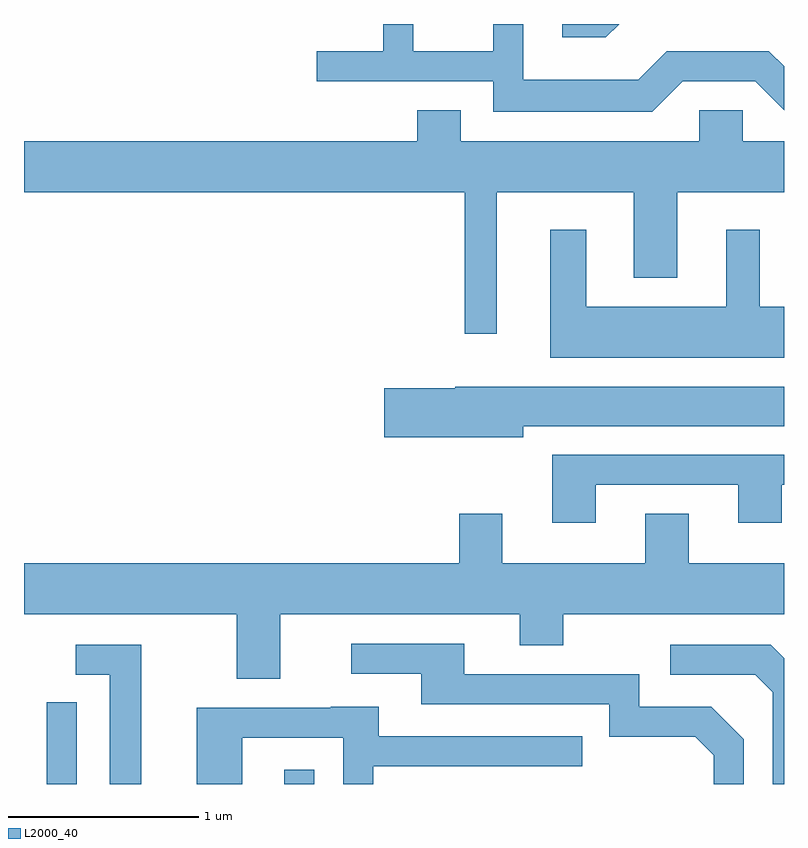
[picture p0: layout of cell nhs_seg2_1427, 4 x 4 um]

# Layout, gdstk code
import gdstk
lib = gdstk.Library(unit=1e-6, precision=1e-09)
def R(c, l, rs):  # rectangles x0, y0, x1, y1
    for r in rs: c.add(gdstk.rectangle(r[:2], r[2:], *l))
def P(c, l, *ps):  # polygons
    for p in ps: c.add(gdstk.Polygon(p, *l))
L2000_40 = (2000, 40)

nhs_seg2_1427 = lib.new_cell('nhs_seg2_1427')
R(nhs_seg2_1427, L2000_40, [(225.731,1111.802,225.889,1112.233), (226.981,1111.802,227.139,1111.878)])
P(nhs_seg2_1427, L2000_40, [(229.077,1115.501),(229.459,1115.501),(229.611,1115.349),(229.611,1115.58),(229.532,1115.659),(228.994,1115.659),(228.844,1115.509),(228.239,1115.509),(228.239,1115.802),(228.081,1115.802),(228.081,1115.659),(227.659,1115.659),(227.659,1115.802),(227.501,1115.802),(227.501,1115.659),(227.153,1115.659),(227.153,1115.501),(228.081,1115.501),(228.081,1115.341),(228.917,1115.341)],
  [(228.743,1115.802),(228.443,1115.802),(228.443,1115.731),(228.672,1115.731)],
  [(228.099,1114.916),(228.821,1114.916),(228.821,1114.466),(229.049,1114.466),(229.049,1114.916),(229.611,1114.916),(229.611,1115.184),(229.394,1115.184),(229.394,1115.349),(229.166,1115.349),(229.166,1115.184),(227.909,1115.184),(227.909,1115.349),(227.681,1115.349),(227.681,1115.184),(225.611,1115.184),(225.611,1114.916),(227.931,1114.916),(227.931,1114.173),(228.099,1114.173)],
  [(229.611,1114.314),(229.484,1114.314),(229.484,1114.719),(229.306,1114.719),(229.306,1114.314),(228.569,1114.314),(228.569,1114.719),(228.381,1114.719),(228.381,1114.046),(229.611,1114.046)],
  [(228.239,1113.686),(229.611,1113.686),(229.611,1113.894),(227.88,1113.894),(227.88,1113.884),(227.506,1113.884),(227.506,1113.626),(228.239,1113.626)],
  [(228.619,1113.376),(229.371,1113.376),(229.371,1113.176),(229.599,1113.176),(229.599,1113.376),(229.611,1113.376),(229.611,1113.534),(228.391,1113.534),(228.391,1113.176),(228.619,1113.176)],
  [(226.959,1112.696),(228.221,1112.696),(228.221,1112.531),(228.449,1112.531),(228.449,1112.696),(229.611,1112.696),(229.611,1112.964),(229.109,1112.964),(229.109,1113.224),(228.881,1113.224),(228.881,1112.964),(228.129,1112.964),(228.129,1113.224),(227.901,1113.224),(227.901,1112.964),(225.611,1112.964),(225.611,1112.696),(226.731,1112.696),(226.731,1112.356),(226.959,1112.356)],
  [(229.399,1112.037),(229.227,1112.209),(228.849,1112.209),(228.849,1112.379),(227.929,1112.379),(227.929,1112.539),(227.333,1112.539),(227.333,1112.381),(227.701,1112.381),(227.701,1112.221),(228.691,1112.221),(228.691,1112.051),(229.144,1112.051),(229.241,1111.954),(229.241,1111.802),(229.399,1111.802)],
  [(229.611,1112.465),(229.542,1112.534),(229.013,1112.534),(229.013,1112.376),(229.459,1112.376),(229.551,1112.284),(229.551,1111.802),(229.611,1111.802)],
  [(226.229,1112.534),(225.883,1112.534),(225.883,1112.376),(226.061,1112.376),(226.061,1111.802),(226.229,1111.802)],
  [(226.759,1112.046),(227.291,1112.046),(227.291,1111.802),(227.449,1111.802),(227.449,1111.896),(228.548,1111.896),(228.548,1112.054),(227.479,1112.054),(227.479,1112.209),(227.225,1112.209),(227.225,1112.204),(226.521,1112.204),(226.521,1111.802),(226.759,1111.802)])

lib.write_gds('nhs_seg2_1427.gds')
